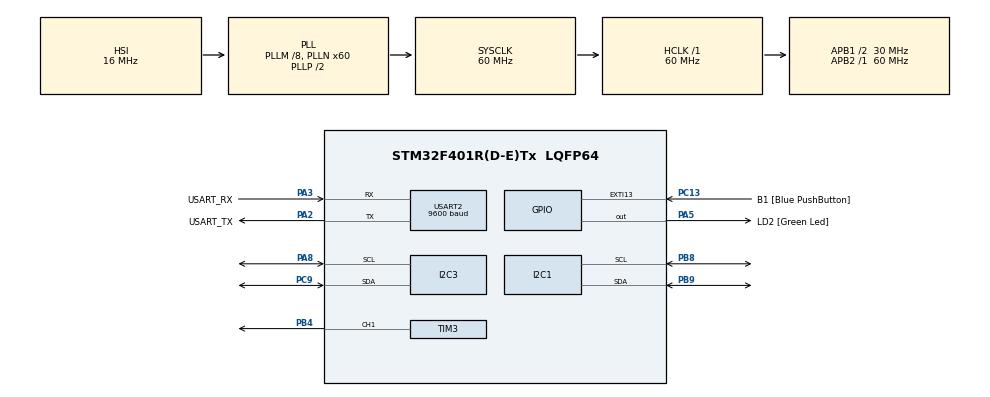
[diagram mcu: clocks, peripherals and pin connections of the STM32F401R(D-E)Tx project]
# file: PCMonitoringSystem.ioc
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Dma.I2C1_RX.0.Direction=DMA_PERIPH_TO_MEMORY
Dma.I2C1_RX.0.FIFOMode=DMA_FIFOMODE_DISABLE
Dma.I2C1_RX.0.Instance=DMA1_Stream0
Dma.I2C1_RX.0.MemDataAlignment=DMA_MDATAALIGN_WORD
Dma.I2C1_RX.0.MemInc=DMA_MINC_ENABLE
Dma.I2C1_RX.0.Mode=DMA_CIRCULAR
Dma.I2C1_RX.0.PeriphDataAlignment=DMA_PDATAALIGN_WORD
Dma.I2C1_RX.0.PeriphInc=DMA_PINC_DISABLE
Dma.I2C1_RX.0.Priority=DMA_PRIORITY_LOW
Dma.I2C1_TX.1.Direction=DMA_MEMORY_TO_PERIPH
Dma.I2C1_TX.1.FIFOMode=DMA_FIFOMODE_DISABLE
Dma.I2C1_TX.1.Instance=DMA1_Stream7
Dma.I2C1_TX.1.MemDataAlignment=DMA_MDATAALIGN_WORD
Dma.I2C1_TX.1.MemInc=DMA_MINC_ENABLE
Dma.I2C1_TX.1.Mode=DMA_CIRCULAR
Dma.I2C1_TX.1.PeriphDataAlignment=DMA_PDATAALIGN_WORD
Dma.I2C1_TX.1.PeriphInc=DMA_PINC_DISABLE
Dma.I2C1_TX.1.Priority=DMA_PRIORITY_LOW
Dma.I2C3_RX.2.Direction=DMA_PERIPH_TO_MEMORY
Dma.I2C3_RX.2.FIFOMode=DMA_FIFOMODE_DISABLE
Dma.I2C3_RX.2.Instance=DMA1_Stream1
Dma.I2C3_RX.2.MemDataAlignment=DMA_MDATAALIGN_WORD
Dma.I2C3_RX.2.MemInc=DMA_MINC_ENABLE
Dma.I2C3_RX.2.Mode=DMA_CIRCULAR
Dma.I2C3_RX.2.PeriphDataAlignment=DMA_PDATAALIGN_WORD
Dma.I2C3_RX.2.PeriphInc=DMA_PINC_DISABLE
Dma.I2C3_RX.2.Priority=DMA_PRIORITY_LOW
Dma.I2C3_TX.3.Direction=DMA_MEMORY_TO_PERIPH
Dma.I2C3_TX.3.FIFOMode=DMA_FIFOMODE_DISABLE
Dma.I2C3_TX.3.Instance=DMA1_Stream4
Dma.I2C3_TX.3.MemDataAlignment=DMA_MDATAALIGN_WORD
Dma.I2C3_TX.3.MemInc=DMA_MINC_ENABLE
Dma.I2C3_TX.3.Mode=DMA_CIRCULAR
Dma.I2C3_TX.3.PeriphDataAlignment=DMA_PDATAALIGN_WORD
Dma.I2C3_TX.3.PeriphInc=DMA_PINC_DISABLE
Dma.I2C3_TX.3.Priority=DMA_PRIORITY_LOW
Dma.Request0=I2C1_RX
Dma.Request1=I2C1_TX
Dma.Request2=I2C3_RX
Dma.Request3=I2C3_TX
Dma.Request4=USART2_RX
Dma.Request5=USART2_TX
Dma.USART2_RX.4.Direction=DMA_PERIPH_TO_MEMORY
Dma.USART2_RX.4.FIFOMode=DMA_FIFOMODE_DISABLE
Dma.USART2_RX.4.Instance=DMA1_Stream5
Dma.USART2_RX.4.MemDataAlignment=DMA_MDATAALIGN_BYTE
Dma.USART2_RX.4.MemInc=DMA_MINC_ENABLE
Dma.USART2_RX.4.Mode=DMA_NORMAL
Dma.USART2_RX.4.PeriphDataAlignment=DMA_PDATAALIGN_BYTE
Dma.USART2_RX.4.PeriphInc=DMA_PINC_DISABLE
Dma.USART2_RX.4.Priority=DMA_PRIORITY_LOW
Dma.USART2_TX.5.Direction=DMA_MEMORY_TO_PERIPH
Dma.USART2_TX.5.FIFOMode=DMA_FIFOMODE_DISABLE
Dma.USART2_TX.5.Instance=DMA1_Stream6
Dma.USART2_TX.5.MemDataAlignment=DMA_MDATAALIGN_BYTE
Dma.USART2_TX.5.MemInc=DMA_MINC_ENABLE
Dma.USART2_TX.5.Mode=DMA_NORMAL
Dma.USART2_TX.5.PeriphDataAlignment=DMA_PDATAALIGN_BYTE
Dma.USART2_TX.5.PeriphInc=DMA_PINC_DISABLE
Dma.USART2_TX.5.Priority=DMA_PRIORITY_LOW
FREERTOS.Tasks01=DefaultTask,0,256,StartDefaultTask,Default,NULL,Dynamic,NULL,NULL;DisplayTask,0,256,StartDisplayTask,Default,NULL,Dynamic,NULL,NULL;SensorTask,0,256,StartSensorTask,Default,NULL,Dynamic,NULL,NULL;SysTask,0,256,StartSysTask,Default,NULL,Dynamic,NULL,NULL;SndTask,0,256,StartSndTask,Default,NULL,Dynamic,NULL,NULL
FREERTOS.configCHECK_FOR_STACK_OVERFLOW=1
FREERTOS.configENABLE_FPU=0
FREERTOS.configUSE_NEWLIB_REENTRANT=1
Mcu.Family=STM32F4
Mcu.Name=STM32F401R(D-E)Tx
Mcu.Package=LQFP64
NVIC.DMA1_Stream0_IRQn=true\:5\:0\:false\:false\:true\:true\:false\:true\:true
NVIC.DMA1_Stream1_IRQn=true\:5\:0\:false\:false\:true\:true\:false\:true\:true
NVIC.DMA1_Stream4_IRQn=true\:5\:0\:false\:false\:true\:true\:false\:true\:true
NVIC.DMA1_Stream5_IRQn=true\:5\:0\:false\:false\:true\:true\:false\:true\:true
NVIC.DMA1_Stream6_IRQn=true\:5\:0\:false\:false\:true\:true\:false\:true\:true
NVIC.DMA1_Stream7_IRQn=true\:5\:0\:false\:false\:true\:true\:false\:true\:true
NVIC.I2C1_ER_IRQn=true\:5\:0\:false\:false\:true\:true\:true\:true\:true
NVIC.I2C1_EV_IRQn=true\:5\:0\:false\:false\:true\:true\:true\:true\:true
NVIC.PriorityGroup=NVIC_PRIORITYGROUP_4
NVIC.TIM1_UP_TIM10_IRQn=true\:15\:0\:false\:false\:true\:false\:false\:true\:true
NVIC.TIM3_IRQn=true\:5\:0\:false\:false\:true\:true\:true\:true\:true
NVIC.TimeBase=TIM1_UP_TIM10_IRQn
NVIC.TimeBaseIP=TIM1
NVIC.USART2_IRQn=true\:5\:0\:false\:false\:true\:true\:true\:true\:true
PA13.GPIO_Label=TMS
PA13.Mode=Serial_Wire
PA13.Signal=SYS_JTMS-SWDIO
PA14.GPIO_Label=TCK
PA14.Mode=Serial_Wire
PA14.Signal=SYS_JTCK-SWCLK
PA2.GPIO_Label=USART_TX
PA2.GPIO_Mode=GPIO_MODE_AF_PP
PA2.GPIO_PuPd=GPIO_NOPULL
PA2.GPIO_Speed=GPIO_SPEED_FREQ_LOW
PA2.Mode=Asynchronous
PA2.Signal=USART2_TX
PA3.GPIO_Label=USART_RX
PA3.GPIO_Mode=GPIO_MODE_AF_PP
PA3.GPIO_PuPd=GPIO_NOPULL
PA3.GPIO_Speed=GPIO_SPEED_FREQ_LOW
PA3.Mode=Asynchronous
PA3.Signal=USART2_RX
PA5.GPIO_Label=LD2 [Green Led]
PA5.GPIO_Mode=GPIO_MODE_OUTPUT_PP
PA5.GPIO_PuPd=GPIO_NOPULL
PA5.GPIO_Speed=GPIO_SPEED_FREQ_LOW
PA5.Signal=GPIO_Output
PA8.Mode=I2C
PA8.Signal=I2C3_SCL
PB3.GPIO_Label=SWO
PB3.Signal=SYS_JTDO-SWO
PB4.Signal=S_TIM3_CH1
PB8.Mode=I2C
PB8.Signal=I2C1_SCL
PB9.Mode=I2C
PB9.Signal=I2C1_SDA
PC13-ANTI_TAMP.GPIO_Label=B1 [Blue PushButton]
PC13-ANTI_TAMP.GPIO_ModeDefaultEXTI=GPIO_MODE_IT_FALLING
PC13-ANTI_TAMP.GPIO_PuPd=GPIO_NOPULL
PC13-ANTI_TAMP.Signal=GPXTI13
PC14-OSC32_IN.Mode=LSE-External-Oscillator
PC14-OSC32_IN.Signal=RCC_OSC32_IN
PC15-OSC32_OUT.Mode=LSE-External-Oscillator
PC15-OSC32_OUT.Signal=RCC_OSC32_OUT
PC9.Mode=I2C
PC9.Signal=I2C3_SDA
PH0\ -\ OSC_IN.Mode=HSE-External-Clock-Source
PH0\ -\ OSC_IN.Signal=RCC_OSC_IN
PH1\ -\ OSC_OUT.Mode=HSE-External-Clock-Source
PH1\ -\ OSC_OUT.Signal=RCC_OSC_OUT
ProjectManager.HeapSize=0x200
ProjectManager.StackSize=0x400
ProjectManager.TargetToolchain=STM32CubeIDE
RCC.48MHZClocksFreq_Value=17142857.14285714
RCC.AHBFreq_Value=60000000
RCC.APB1CLKDivider=RCC_HCLK_DIV2
RCC.APB1Freq_Value=30000000
RCC.APB1TimFreq_Value=60000000
RCC.APB2Freq_Value=60000000
RCC.APB2TimFreq_Value=60000000
RCC.CortexFreq_Value=60000000
RCC.HCLKFreq_Value=60000000
RCC.HSE_VALUE=8000000
RCC.HSI_VALUE=16000000
RCC.PLLM=8
RCC.PLLN=60
RCC.PLLQ=7
RCC.SYSCLKFreq_VALUE=60000000
RCC.SYSCLKSource=RCC_SYSCLKSOURCE_PLLCLK
RCC.VCOOutputFreq_Value=120000000
SH.S_TIM3_CH1.0=TIM3_CH1,PWM Generation1 CH1
TIM3.AutoReloadPreload=TIM_AUTORELOAD_PRELOAD_ENABLE
TIM3.Channel-PWM\ Generation1\ CH1=TIM_CHANNEL_1
TIM3.Period=1000
TIM3.Prescaler=0
TIM3.Pulse-PWM\ Generation1\ CH1=500
USART2.BaudRate=9600
USART2.VirtualMode=VM_ASYNC
VP_FREERTOS_VS_CMSIS_V1.Mode=CMSIS_V1
VP_SYS_VS_tim1.Mode=TIM1
VP_TIM3_VS_ClockSourceINT.Mode=Internal
board=NUCLEO-F401RE

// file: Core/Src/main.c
/* USER CODE BEGIN Header */
/**
  ******************************************************************************
  * @file           : main.c
  * @brief          : Main program body
  ******************************************************************************
  * @attention
  *
  * Copyright (c) 2024 STMicroelectronics.
  * All rights reserved.
  *
  * This software is licensed under terms that can be found in the LICENSE file
  * in the root directory of this software component.
  * If no LICENSE file comes with this software, it is provided AS-IS.
  *
  ******************************************************************************
  */
/* USER CODE END Header */
#include "main.h"
#include "cmsis_os.h"

/* USER CODE BEGIN Includes */
#include "i2c-lcd.h"
#include "am2320.h"
#include <stdlib.h>
#include <stdio.h>
#include <time.h>
#include <stdbool.h>
#include <string.h>
#include <task.h>
#include <FreeRTOS.h>
/* USER CODE END Includes */

/* USER CODE BEGIN PD */
#define RECEIVE_SIZE 23
#define TIM_FREQ 60000000
#define SAMPLE_TIME_MS_SENSOR 100
#define SAMPLE_TIME_MS_DISPLAY 150
#define INCLUDE_vTaskDelay 1
#define configCHECK_FOR_STACK_OVERFLOW 1
/* USER CODE END PD */

I2C_HandleTypeDef hi2c1;
I2C_HandleTypeDef hi2c3;
DMA_HandleTypeDef hdma_i2c1_rx;
DMA_HandleTypeDef hdma_i2c1_tx;
DMA_HandleTypeDef hdma_i2c3_rx;
DMA_HandleTypeDef hdma_i2c3_tx;

TIM_HandleTypeDef htim3;

UART_HandleTypeDef huart2;
DMA_HandleTypeDef hdma_usart2_rx;
DMA_HandleTypeDef hdma_usart2_tx;

osThreadId DefaultTaskHandle;
osThreadId DisplayTaskHandle;
osThreadId SensorTaskHandle;
osThreadId SysTaskHandle;
osThreadId SndTaskHandle;

void SystemClock_Config(void);
static void MX_GPIO_Init(void);
static void MX_DMA_Init(void);
static void MX_I2C1_Init(void);
static void MX_I2C3_Init(void);
static void MX_USART2_UART_Init(void);
static void MX_TIM3_Init(void);
void StartDefaultTask(void const * argument);
void StartDisplayTask(void const * argument);
void StartSensorTask(void const * argument);
void StartSysTask(void const * argument);
void StartSndTask(void const * argument);

/* USER CODE BEGIN PFP */
void processReceivedData(uint8_t *data, uint16_t length);
void make_sound();
int presForFrequency (int frequency);
/* USER CODE END PFP */

/* USER CODE BEGIN 0 */
float temperature = 0, humidity = 0;
char tempBuffer[20];
uint8_t receiveBuffer[RECEIVE_SIZE];
char processedBuffer[RECEIVE_SIZE];
int counter = 0;
int UARTFlag = 0;
/* USER CODE END 0 */

int main(void)
{

  /* MCU Configuration--------------------------------------------------------*/

  /* Reset of all peripherals, Initializes the Flash interface and the Systick. */
  HAL_Init();

  /* Configure the system clock */
  SystemClock_Config();

  /* Initialize all configured peripherals */
  MX_GPIO_Init();
  MX_DMA_Init();
  MX_I2C1_Init();
  MX_I2C3_Init();
  MX_USART2_UART_Init();
  MX_TIM3_Init();
  /* USER CODE BEGIN 2 */
  lcd_init();
  lcd_clear_display();

  //lcd_cursor_pos(0, 0);
  //lcd_send_string("PC Monitoring System");

  lcd_cursor_pos(0, 0);
  lcd_send_string("Temperature:");

  lcd_cursor_pos(1, 0);
  lcd_send_string("Humidity:");

  HAL_TIM_PWM_Start(&htim3, TIM_CHANNEL_1);

  //HAL_UART_Receive_DMA(&huart2, receiveBuffer, RECEIVE_SIZE);
  /* USER CODE END 2 */

  /* Create the thread(s) */
  /* definition and creation of DefaultTask */
  osThreadDef(DefaultTask, StartDefaultTask, osPriorityNormal, 0, 256);
  DefaultTaskHandle = osThreadCreate(osThread(DefaultTask), NULL);

  /* definition and creation of DisplayTask */
  osThreadDef(DisplayTask, StartDisplayTask, osPriorityNormal, 0, 256);
  DisplayTaskHandle = osThreadCreate(osThread(DisplayTask), NULL);

  /* definition and creation of SensorTask */
  osThreadDef(SensorTask, StartSensorTask, osPriorityNormal, 0, 256);
  SensorTaskHandle = osThreadCreate(osThread(SensorTask), NULL);

  /* definition and creation of SysTask */
  osThreadDef(SysTask, StartSysTask, osPriorityNormal, 0, 256);
  SysTaskHandle = osThreadCreate(osThread(SysTask), NULL);

  /* definition and creation of SndTask */
  osThreadDef(SndTask, StartSndTask, osPriorityNormal, 0, 256);
  SndTaskHandle = osThreadCreate(osThread(SndTask), NULL);

  /* Start scheduler */
  osKernelStart();

  /* We should never get here as control is now taken by the scheduler */

  /* Infinite loop */
  while (1)
  {

  }
}

void SystemClock_Config(void)
{
  RCC_OscInitTypeDef RCC_OscInitStruct = {0};
  RCC_ClkInitTypeDef RCC_ClkInitStruct = {0};

  /** Configure the main internal regulator output voltage
  */
  __HAL_RCC_PWR_CLK_ENABLE();
  __HAL_PWR_VOLTAGESCALING_CONFIG(PWR_REGULATOR_VOLTAGE_SCALE2);

  /** Initializes the RCC Oscillators according to the specified parameters
  * in the RCC_OscInitTypeDef structure.
  */
  RCC_OscInitStruct.OscillatorType = RCC_OSCILLATORTYPE_HSI;
  RCC_OscInitStruct.HSIState = RCC_HSI_ON;
  RCC_OscInitStruct.HSICalibrationValue = RCC_HSICALIBRATION_DEFAULT;
  RCC_OscInitStruct.PLL.PLLState = RCC_PLL_ON;
  RCC_OscInitStruct.PLL.PLLSource = RCC_PLLSOURCE_HSI;
  RCC_OscInitStruct.PLL.PLLM = 8;
  RCC_OscInitStruct.PLL.PLLN = 60;
  RCC_OscInitStruct.PLL.PLLP = RCC_PLLP_DIV2;
  RCC_OscInitStruct.PLL.PLLQ = 7;
  if (HAL_RCC_OscConfig(&RCC_OscInitStruct) != HAL_OK)
  {
    Error_Handler();
  }

  /** Initializes the CPU, AHB and APB buses clocks
  */
  RCC_ClkInitStruct.ClockType = RCC_CLOCKTYPE_HCLK|RCC_CLOCKTYPE_SYSCLK
                              |RCC_CLOCKTYPE_PCLK1|RCC_CLOCKTYPE_PCLK2;
  RCC_ClkInitStruct.SYSCLKSource = RCC_SYSCLKSOURCE_PLLCLK;
  RCC_ClkInitStruct.AHBCLKDivider = RCC_SYSCLK_DIV1;
  RCC_ClkInitStruct.APB1CLKDivider = RCC_HCLK_DIV2;
  RCC_ClkInitStruct.APB2CLKDivider = RCC_HCLK_DIV1;

  if (HAL_RCC_ClockConfig(&RCC_ClkInitStruct, FLASH_LATENCY_1) != HAL_OK)
  {
    Error_Handler();
  }
}

static void MX_I2C1_Init(void)
{

  hi2c1.Instance = I2C1;
  hi2c1.Init.ClockSpeed = 100000;
  hi2c1.Init.DutyCycle = I2C_DUTYCYCLE_2;
  hi2c1.Init.OwnAddress1 = 0;
  hi2c1.Init.AddressingMode = I2C_ADDRESSINGMODE_7BIT;
  hi2c1.Init.DualAddressMode = I2C_DUALADDRESS_DISABLE;
  hi2c1.Init.OwnAddress2 = 0;
  hi2c1.Init.GeneralCallMode = I2C_GENERALCALL_DISABLE;
  hi2c1.Init.NoStretchMode = I2C_NOSTRETCH_DISABLE;
  if (HAL_I2C_Init(&hi2c1) != HAL_OK)
  {
    Error_Handler();
  }

}

static void MX_I2C3_Init(void)
{

  hi2c3.Instance = I2C3;
  hi2c3.Init.ClockSpeed = 100000;
  hi2c3.Init.DutyCycle = I2C_DUTYCYCLE_2;
  hi2c3.Init.OwnAddress1 = 0;
  hi2c3.Init.AddressingMode = I2C_ADDRESSINGMODE_7BIT;
  hi2c3.Init.DualAddressMode = I2C_DUALADDRESS_DISABLE;
  hi2c3.Init.OwnAddress2 = 0;
  hi2c3.Init.GeneralCallMode = I2C_GENERALCALL_DISABLE;
  hi2c3.Init.NoStretchMode = I2C_NOSTRETCH_DISABLE;
  if (HAL_I2C_Init(&hi2c3) != HAL_OK)
  {
    Error_Handler();
  }

}

static void MX_TIM3_Init(void)
{

  TIM_ClockConfigTypeDef sClockSourceConfig = {0};
  TIM_MasterConfigTypeDef sMasterConfig = {0};
  TIM_OC_InitTypeDef sConfigOC = {0};

  htim3.Instance = TIM3;
  htim3.Init.Prescaler = 0;
  htim3.Init.CounterMode = TIM_COUNTERMODE_UP;
  htim3.Init.Period = 1000;
  htim3.Init.ClockDivision = TIM_CLOCKDIVISION_DIV1;
  htim3.Init.AutoReloadPreload = TIM_AUTORELOAD_PRELOAD_ENABLE;
  if (HAL_TIM_Base_Init(&htim3) != HAL_OK)
  {
    Error_Handler();
  }
  sClockSourceConfig.ClockSource = TIM_CLOCKSOURCE_INTERNAL;
  if (HAL_TIM_ConfigClockSource(&htim3, &sClockSourceConfig) != HAL_OK)
  {
    Error_Handler();
  }
  if (HAL_TIM_PWM_Init(&htim3) != HAL_OK)
  {
    Error_Handler();
  }
  sMasterConfig.MasterOutputTrigger = TIM_TRGO_RESET;
  sMasterConfig.MasterSlaveMode = TIM_MASTERSLAVEMODE_DISABLE;
  if (HAL_TIMEx_MasterConfigSynchronization(&htim3, &sMasterConfig) != HAL_OK)
  {
    Error_Handler();
  }
  sConfigOC.OCMode = TIM_OCMODE_PWM1;
  sConfigOC.Pulse = 500;
  sConfigOC.OCPolarity = TIM_OCPOLARITY_HIGH;
  sConfigOC.OCFastMode = TIM_OCFAST_DISABLE;
  if (HAL_TIM_PWM_ConfigChannel(&htim3, &sConfigOC, TIM_CHANNEL_1) != HAL_OK)
  {
    Error_Handler();
  }
  HAL_TIM_MspPostInit(&htim3);

}

static void MX_USART2_UART_Init(void)
{

  huart2.Instance = USART2;
  huart2.Init.BaudRate = 9600;
  huart2.Init.WordLength = UART_WORDLENGTH_8B;
  huart2.Init.StopBits = UART_STOPBITS_1;
  huart2.Init.Parity = UART_PARITY_NONE;
  huart2.Init.Mode = UART_MODE_TX_RX;
  huart2.Init.HwFlowCtl = UART_HWCONTROL_NONE;
  huart2.Init.OverSampling = UART_OVERSAMPLING_16;
  if (HAL_UART_Init(&huart2) != HAL_OK)
  {
    Error_Handler();
  }

}

static void MX_DMA_Init(void)
{

  /* DMA controller clock enable */
  __HAL_RCC_DMA1_CLK_ENABLE();

  /* DMA interrupt init */
  /* DMA1_Stream0_IRQn interrupt configuration */
  HAL_NVIC_SetPriority(DMA1_Stream0_IRQn, 5, 0);
  HAL_NVIC_EnableIRQ(DMA1_Stream0_IRQn);
  /* DMA1_Stream1_IRQn interrupt configuration */
  HAL_NVIC_SetPriority(DMA1_Stream1_IRQn, 5, 0);
  HAL_NVIC_EnableIRQ(DMA1_Stream1_IRQn);
  /* DMA1_Stream4_IRQn interrupt configuration */
  HAL_NVIC_SetPriority(DMA1_Stream4_IRQn, 5, 0);
  HAL_NVIC_EnableIRQ(DMA1_Stream4_IRQn);
  /* DMA1_Stream5_IRQn interrupt configuration */
  HAL_NVIC_SetPriority(DMA1_Stream5_IRQn, 5, 0);
  HAL_NVIC_EnableIRQ(DMA1_Stream5_IRQn);
  /* DMA1_Stream6_IRQn interrupt configuration */
  HAL_NVIC_SetPriority(DMA1_Stream6_IRQn, 5, 0);
  HAL_NVIC_EnableIRQ(DMA1_Stream6_IRQn);
  /* DMA1_Stream7_IRQn interrupt configuration */
  HAL_NVIC_SetPriority(DMA1_Stream7_IRQn, 5, 0);
  HAL_NVIC_EnableIRQ(DMA1_Stream7_IRQn);

}

static void MX_GPIO_Init(void)
{
  GPIO_InitTypeDef GPIO_InitStruct = {0};

  /* GPIO Ports Clock Enable */
  __HAL_RCC_GPIOC_CLK_ENABLE();
  __HAL_RCC_GPIOH_CLK_ENABLE();
  __HAL_RCC_GPIOA_CLK_ENABLE();
  __HAL_RCC_GPIOB_CLK_ENABLE();

  /*Configure GPIO pin Output Level */
  HAL_GPIO_WritePin(LD2_GPIO_Port, LD2_Pin, GPIO_PIN_RESET);

  /*Configure GPIO pin : B1_Pin */
  GPIO_InitStruct.Pin = B1_Pin;
  GPIO_InitStruct.Mode = GPIO_MODE_IT_FALLING;
  GPIO_InitStruct.Pull = GPIO_NOPULL;
  HAL_GPIO_Init(B1_GPIO_Port, &GPIO_InitStruct);

  /*Configure GPIO pin : LD2_Pin */
  GPIO_InitStruct.Pin = LD2_Pin;
  GPIO_InitStruct.Mode = GPIO_MODE_OUTPUT_PP;
  GPIO_InitStruct.Pull = GPIO_NOPULL;
  GPIO_InitStruct.Speed = GPIO_SPEED_FREQ_LOW;
  HAL_GPIO_Init(LD2_GPIO_Port, &GPIO_InitStruct);

}

/* USER CODE BEGIN 4 */

void HAL_UART_RxCpltCallback(UART_HandleTypeDef *huart)
{
	processReceivedData(receiveBuffer, RECEIVE_SIZE);
	UARTFlag = 1;
}

void processReceivedData(uint8_t *data, uint16_t length)
{
  /* Ensure null-termination of the received data for string operations */
  //data[length] = '\0';

  /* Convert to string if needed */
  //char receivedString[RX_BUFFER_SIZE + 1];
  strncpy(processedBuffer, (char *)data, length + 1);
}

void make_sound(){
	__HAL_TIM_SET_PRESCALER(&htim3, presForFrequency(1000));
	HAL_Delay(250);
	__HAL_TIM_SET_PRESCALER(&htim3, presForFrequency(3000));
	HAL_Delay(250);
	__HAL_TIM_SET_PRESCALER(&htim3, presForFrequency(6000));
	HAL_Delay(250);
	__HAL_TIM_SET_PRESCALER(&htim3, presForFrequency(9000));
	HAL_Delay(250);
	__HAL_TIM_SET_PRESCALER(&htim3, presForFrequency(12000));
	HAL_Delay(250);
}

int presForFrequency (int frequency)
{
	if (frequency == 0) return 0;
	return ((TIM_FREQ/(1000*frequency))-1);  // 1 is added in the register
}

void vApplicationStackOverflowHook(TaskHandle_t xTask, char *pcTaskName)
{
    // This function is called if a stack overflow is detected
    counter = -1;

    // Halt execution or perform appropriate error handling
    while (1);  // Infinite loop to halt the system
}

/* USER CODE END 4 */

void StartDefaultTask(void const * argument)
{
  /* USER CODE BEGIN 5 */
  /* Infinite loop */
  for(;;)
  {
	  osDelay(200);
  }
  /* USER CODE END 5 */
}

void StartDisplayTask(void const * argument)
{
  /* USER CODE BEGIN StartDisplayTask */
  /* Infinite loop */
  for(;;)
  {
	  snprintf(tempBuffer, 20, "%.2f", temperature);
	  lcd_cursor_pos(0, 13);
	  lcd_send_string(tempBuffer);

	  snprintf(tempBuffer, 20, "%.2f", humidity);
	  lcd_cursor_pos(1, 10);
	  lcd_send_string(tempBuffer);
	  osDelay(SAMPLE_TIME_MS_DISPLAY);
  }
  /* USER CODE END StartDisplayTask */
}

void StartSensorTask(void const * argument)
{
  /* USER CODE BEGIN StartSensorTask */
  /* Infinite loop */
  for(;;)
  {
	  AM2320_ReadTemperature(&hi2c3, &temperature);
	  vTaskDelay(pdMS_TO_TICKS(200));
	  //HAL_Delay(200);
	  AM2320_ReadHumidity(&hi2c3, &humidity);
	  osDelay(SAMPLE_TIME_MS_SENSOR);
  }
  /* USER CODE END StartSensorTask */
}

void StartSysTask(void const * argument)
{
  /* USER CODE BEGIN StartSysTask */
	char *CPU;
	char *RAM;
	char *charBuffer = (char *)receiveBuffer;
	const char *delimiter = ",";
  /* Infinite loop */
  for(;;)
  {
	  HAL_UART_Receive_DMA(&huart2, receiveBuffer, RECEIVE_SIZE);
	  if (UARTFlag == 1) {
		  CPU = strtok(charBuffer, delimiter);
		  RAM = strtok(NULL, delimiter);
		  lcd_cursor_pos(2, 0);
		  lcd_send_string(CPU);
		  lcd_cursor_pos(3, 0);
		  lcd_send_string(RAM);
		  UARTFlag = 0;
	  }
	  osDelay(100);
  }
  /* USER CODE END StartSysTask */
}

void StartSndTask(void const * argument)
{
  /* USER CODE BEGIN StartSndTask */
  /* Infinite loop */
  for(;;)
  {
	  if (temperature > 50) {
		  make_sound();
	  }
    osDelay(100);
  }
  /* USER CODE END StartSndTask */
}

void HAL_TIM_PeriodElapsedCallback(TIM_HandleTypeDef *htim)
{
  if (htim->Instance == TIM1) {
    HAL_IncTick();
  }
}

void Error_Handler(void)
{
  __disable_irq();
  while (1)
  {
  }
}
